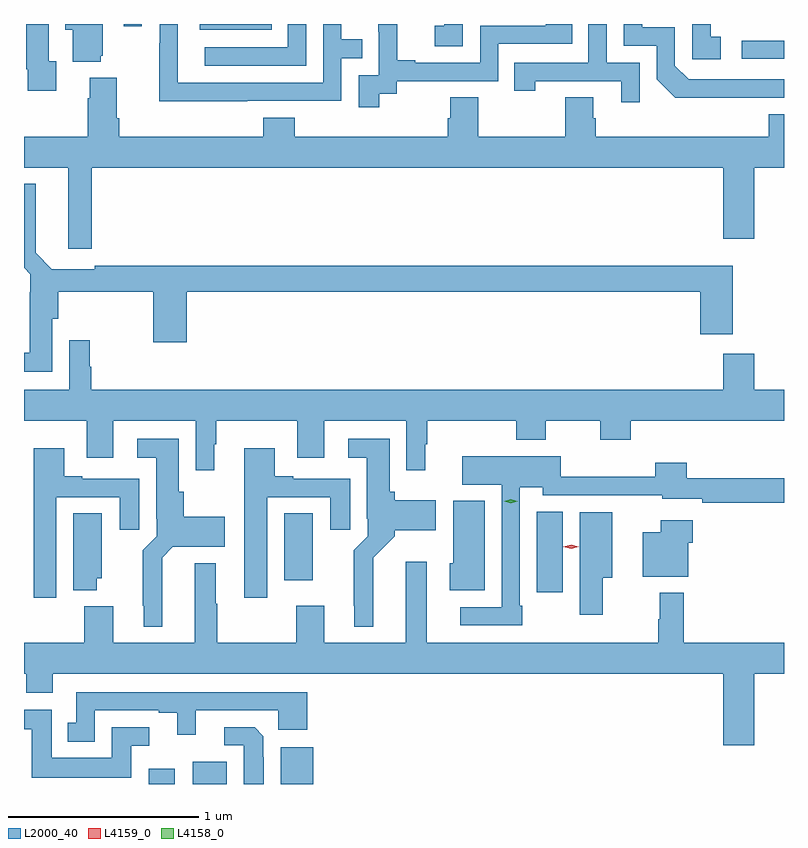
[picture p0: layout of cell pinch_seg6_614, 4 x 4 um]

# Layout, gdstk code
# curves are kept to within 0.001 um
import gdstk
lib = gdstk.Library(unit=1e-6, precision=1e-09)
def R(c, l, rs):  # rectangles x0, y0, x1, y1
    for r in rs: c.add(gdstk.rectangle(r[:2], r[2:], *l))
def P(c, l, *ps):  # polygons
    for p in ps: c.add(gdstk.Polygon(p, *l))
L2000_40 = (2000, 40)
L4158_0 = (4158, 0)
L4159_0 = (4159, 0)

pinch_seg6_614 = lib.new_cell('pinch_seg6_614')
R(pinch_seg6_614, L2000_40, [(485.66,977.393,485.797,977.473), (485.891,977.393,486.07,977.509), (486.356,977.393,486.527,977.587), (487.703,978.402,487.84,978.827), (486.374,978.465,486.523,978.818), (488.781,981.21,489.004,981.306), (485.93,981.362,486.308,981.393), (485.529,981.381,485.625,981.393)])
P(pinch_seg6_614, L2000_40, [(486.489,981.393),(486.393,981.393),(486.393,981.27),(485.955,981.27),(485.955,981.174),(486.489,981.174)],
  [(488.671,981.327),(488.618,981.327),(488.618,981.393),(488.52,981.393),(488.52,981.207),(488.671,981.207)],
  [(486.179,980.988),(486.675,980.988),(486.675,981.213),(486.785,981.213),(486.785,981.314),(486.675,981.314),(486.675,981.393),(486.579,981.393),(486.579,981.084),(485.814,981.084),(485.814,981.393),(485.718,981.393),(485.718,981.293),(485.716,981.293),(485.716,980.987),(486.179,980.987)],
  [(485.408,981.225),(485.419,981.225),(485.419,981.393),(485.222,981.393),(485.222,981.362),(485.261,981.362),(485.261,981.194),(485.408,981.194)],
  [(488.244,981.189),(488.07,981.189),(488.07,981.393),(487.974,981.393),(487.974,981.189),(487.585,981.189),(487.585,981.042),(487.696,981.042),(487.696,981.093),(488.147,981.093),(488.147,980.982),(488.244,980.982)],
  [(487.314,981.393),(487.216,981.393),(487.216,981.385),(487.167,981.385),(487.167,981.276),(487.314,981.276)],
  [(486.874,981.025),(486.966,981.025),(486.966,981.093),(487.5,981.093),(487.5,981.288),(487.889,981.288),(487.889,981.393),(487.749,981.393),(487.749,981.384),(487.404,981.384),(487.404,981.189),(487.063,981.189),(487.063,981.202),(486.968,981.202),(486.968,981.393),(486.869,981.393),(486.869,981.353),(486.87,981.353),(486.87,981.123),(486.765,981.123),(486.765,980.955),(486.874,980.955)],
  [(485.173,981.198),(485.133,981.198),(485.133,981.393),(485.017,981.393),(485.017,981.154),(485.025,981.154),(485.025,981.042),(485.173,981.042)],
  [(488.84,981.006),(489.004,981.006),(489.004,981.102),(488.502,981.102),(488.43,981.174),(488.43,981.375),(488.257,981.375),(488.257,981.393),(488.16,981.393),(488.16,981.279),(488.334,981.279),(488.334,981.102),(488.432,981.005)],
  [(488.012,980.898),(487.999,980.898),(487.999,981.008),(487.852,981.008),(487.852,980.8),(487.395,980.8),(487.395,981.008),(487.247,981.008),(487.247,980.898),(487.235,980.898),(487.235,980.8),(486.428,980.8),(486.428,980.899),(486.263,980.899),(486.263,980.8),(485.504,980.8),(485.504,980.896),(485.491,980.896),(485.491,981.109),(485.351,981.109),(485.351,981.002),(485.339,981.002),(485.339,980.8),(485.004,980.8),(485.004,980.636),(485.237,980.636),(485.237,980.211),(485.36,980.211),(485.36,980.636),(488.684,980.636),(488.684,980.262),(488.848,980.262),(488.848,980.636),(489.004,980.636),(489.004,980.917),(488.924,980.917),(488.924,980.8),(488.012,980.8)],
  [(485.152,979.842),(485.183,979.842),(485.183,979.984),(485.683,979.984),(485.683,979.719),(485.861,979.719),(485.861,979.984),(488.564,979.984),(488.564,979.761),(488.734,979.761),(488.734,980.12),(485.376,980.12),(485.376,980.101),(485.151,980.101),(485.065,980.188),(485.065,980.551),(485.004,980.551),(485.004,980.109),(485.037,980.076),(485.037,979.982),(485.033,979.982),(485.033,979.663),(485.004,979.663),(485.004,979.562),(485.152,979.562)],
  [(486.004,979.182),(486.016,979.182),(486.016,979.304),(486.443,979.304),(486.443,979.11),(486.583,979.11),(486.583,979.304),(487.017,979.304),(487.017,979.044),(487.115,979.044),(487.115,979.182),(487.126,979.182),(487.126,979.304),(487.594,979.304),(487.594,979.205),(487.749,979.205),(487.749,979.304),(488.038,979.304),(488.038,979.205),(488.198,979.205),(488.198,979.304),(489.004,979.304),(489.004,979.468),(488.848,979.468),(488.848,979.657),(488.684,979.657),(488.684,979.468),(485.357,979.468),(485.357,979.59),(485.35,979.59),(485.35,979.729),(485.241,979.729),(485.241,979.468),(485.004,979.468),(485.004,979.304),(485.333,979.304),(485.333,979.11),(485.473,979.11),(485.473,979.304),(485.907,979.304),(485.907,979.044),(486.004,979.044)],
  [(486.841,978.584),(486.954,978.697),(486.954,978.728),(487.171,978.728),(487.171,978.886),(486.954,978.886),(486.954,978.93),(486.928,978.93),(486.928,979.21),(486.711,979.21),(486.711,979.109),(486.809,979.109),(486.809,978.79),(486.813,978.79),(486.813,978.696),(486.739,978.622),(486.739,978.331),(486.743,978.331),(486.743,978.221),(486.841,978.221)],
  [(485.731,978.584),(485.787,978.641),(486.061,978.641),(486.061,978.799),(485.844,978.799),(485.844,978.93),(485.818,978.93),(485.818,979.21),(485.601,979.21),(485.601,979.109),(485.699,979.109),(485.699,978.79),(485.703,978.79),(485.703,978.696),(485.629,978.622),(485.629,978.331),(485.633,978.331),(485.633,978.221),(485.731,978.221)],
  [(485.173,978.903),(485.507,978.903),(485.507,978.732),(485.611,978.732),(485.611,978.999),(485.311,978.999),(485.311,979.012),(485.215,979.012),(485.215,979.159),(485.054,979.159),(485.054,978.372),(485.173,978.372)],
  [(486.283,978.903),(486.617,978.903),(486.617,978.732),(486.721,978.732),(486.721,978.999),(486.421,978.999),(486.421,979.012),(486.325,979.012),(486.325,979.159),(486.164,979.159),(486.164,978.372),(486.283,978.372)],
  [(487.627,978.331),(487.614,978.331),(487.614,978.956),(487.734,978.956),(487.734,978.912),(488.364,978.912),(488.364,978.894),(488.575,978.894),(488.575,978.874),(489.004,978.874),(489.004,979.003),(488.492,979.003),(488.492,979.084),(488.327,979.084),(488.327,979.01),(487.83,979.01),(487.83,979.117),(487.311,979.117),(487.311,978.968),(487.518,978.968),(487.518,978.324),(487.299,978.324),(487.299,978.228),(487.627,978.228)],
  [(487.429,978.883),(487.262,978.883),(487.262,978.555),(487.244,978.555),(487.244,978.413),(487.429,978.413)],
  [(488.05,978.479),(488.101,978.479),(488.101,978.823),(487.928,978.823),(487.928,978.285),(488.05,978.285)],
  [(485.386,978.477),(485.413,978.477),(485.413,978.818),(485.264,978.818),(485.264,978.413),(485.386,978.413)],
  [(488.5,978.663),(488.525,978.663),(488.525,978.781),(488.354,978.781),(488.354,978.718),(488.261,978.718),(488.261,978.485),(488.5,978.485)],
  [(488.477,978.4),(488.349,978.4),(488.349,978.26),(488.341,978.26),(488.341,978.136),(487.123,978.136),(487.123,978.562),(487.013,978.562),(487.013,978.136),(486.583,978.136),(486.583,978.331),(486.436,978.331),(486.436,978.136),(486.021,978.136),(486.021,978.341),(486.013,978.341),(486.013,978.556),(485.903,978.556),(485.903,978.136),(485.473,978.136),(485.473,978.328),(485.321,978.328),(485.321,978.136),(485.004,978.136),(485.004,977.972),(485.015,977.972),(485.015,977.873),(485.155,977.873),(485.155,977.972),(488.684,977.972),(488.684,977.598),(488.848,977.598),(488.848,977.972),(489.004,977.972),(489.004,978.136),(488.477,978.136)],
  [(485.376,977.781),(485.714,977.781),(485.714,977.769),(485.81,977.769),(485.81,977.652),(485.908,977.652),(485.908,977.781),(486.342,977.781),(486.342,977.678),(486.494,977.678),(486.494,977.877),(485.28,977.877),(485.28,977.715),(485.234,977.715),(485.234,977.615),(485.376,977.615)],
  [(485.569,977.595),(485.662,977.595),(485.662,977.691),(485.465,977.691),(485.465,977.53),(485.149,977.53),(485.149,977.785),(485.004,977.785),(485.004,977.681),(485.045,977.681),(485.045,977.426),(485.569,977.426)],
  [(486.265,977.534),(486.264,977.534),(486.264,977.645),(486.218,977.691),(486.057,977.691),(486.057,977.598),(486.161,977.598),(486.161,977.393),(486.265,977.393)])
P(pinch_seg6_614, L4158_0, [(487.567,978.871),(487.532,978.882),(487.532,978.882),(487.532,978.882),(487.567,978.891),(487.602,978.881),(487.602,978.881),(487.602,978.881)])
P(pinch_seg6_614, L4159_0, [(487.883,978.632),(487.842,978.642),(487.842,978.642),(487.842,978.642),(487.883,978.652),(487.924,978.642),(487.924,978.642),(487.924,978.642)])

lib.write_gds('pinch_seg6_614.gds')
